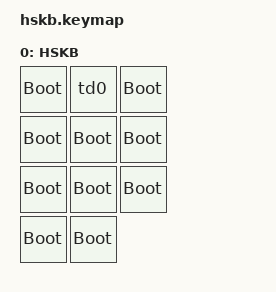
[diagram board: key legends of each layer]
/*
*
* Copyright (c) 2022 Rafael Romão
* SPDX-License-Identifier: MIT
*
*/

#include <behaviors.dtsi>
#include <dt-bindings/zmk/keys.h>
#include <dt-bindings/zmk/bt.h>

#define SHORTCUT LC(L)

/ {
        behaviors {
                td0: tap_dance_0 {
                    compatible = "zmk,behavior-tap-dance";
                    #binding-cells = <0>;
                    tapping-term-ms = <200>;
                    bindings = <&kp SHORTCUT>, <&none>, <&none>, <&none>, <&bootloader>;
                };
            };

        keymap {
            compatible = "zmk,keymap";
            default_layer {
                 label = "HSKB";
                 bindings = <
                    &bootloader &td0 &bootloader
                    &bootloader &bootloader &bootloader
                    &bootloader &bootloader &bootloader
                    &bootloader &bootloader 
                    >;
                };
        };
};
